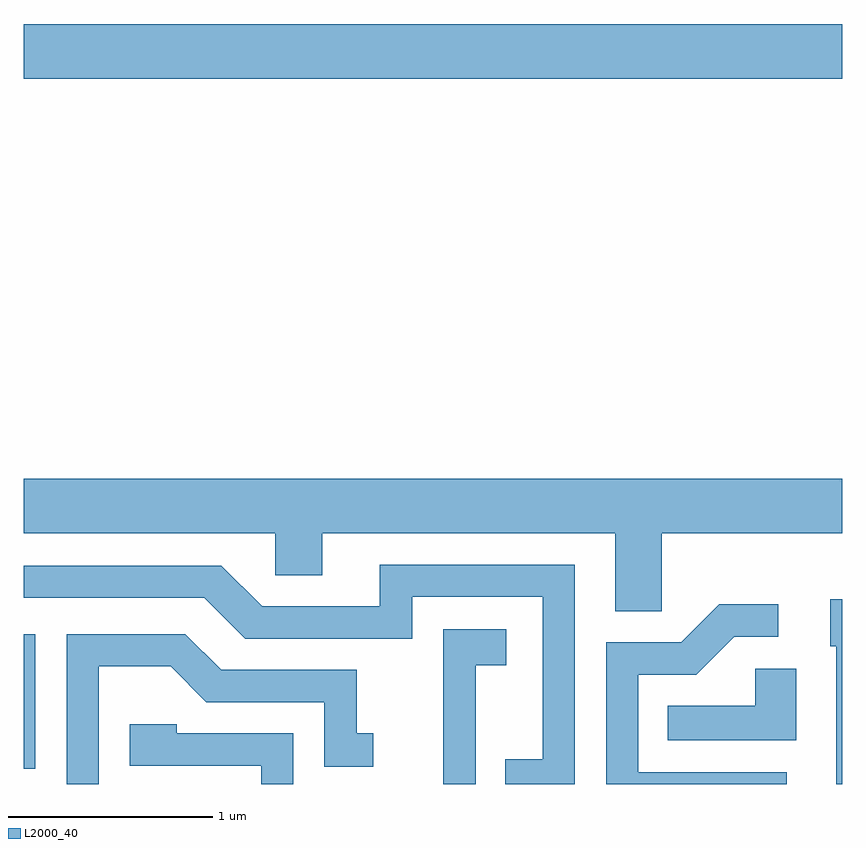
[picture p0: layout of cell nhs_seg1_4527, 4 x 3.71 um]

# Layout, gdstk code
import gdstk
lib = gdstk.Library(unit=1e-6, precision=1e-09)
def R(c, l, rs):  # rectangles x0, y0, x1, y1
    for r in rs: c.add(gdstk.rectangle(r[:2], r[2:], *l))
def P(c, l, *ps):  # polygons
    for p in ps: c.add(gdstk.Polygon(p, *l))
L2000_40 = (2000, 40)

nhs_seg1_4527 = lib.new_cell('nhs_seg1_4527')
R(nhs_seg1_4527, L2000_40, [(321.611,871.786,321.669,872.444), (321.611,875.156,325.611,875.424)])
P(nhs_seg1_4527, L2000_40, [(324.729,872.936),(325.611,872.936),(325.611,873.204),(321.611,873.204),(321.611,872.936),(322.841,872.936),(322.841,872.731),(323.069,872.731),(323.069,872.936),(324.501,872.936),(324.501,872.556),(324.729,872.556)],
  [(324.304,872.784),(323.351,872.784),(323.351,872.579),(322.777,872.579),(322.577,872.779),(321.611,872.779),(321.611,872.621),(322.494,872.621),(322.694,872.421),(323.509,872.421),(323.509,872.626),(324.146,872.626),(324.146,871.834),(323.963,871.834),(323.963,871.712),(324.304,871.712)],
  [(325.611,872.614),(325.551,872.614),(325.551,872.386),(325.581,872.386),(325.581,871.712),(325.611,871.712)],
  [(325.338,871.769),(324.614,871.769),(324.614,872.246),(324.897,872.246),(325.082,872.431),(325.298,872.431),(325.298,872.589),(325.009,872.589),(324.824,872.404),(324.456,872.404),(324.456,871.712),(325.338,871.712)],
  [(323.819,872.291),(323.969,872.291),(323.969,872.469),(323.661,872.469),(323.661,871.712),(323.819,871.712)],
  [(321.979,872.286),(322.329,872.286),(322.504,872.111),(323.081,872.111),(323.081,871.796),(323.318,871.796),(323.318,871.959),(323.239,871.959),(323.239,872.269),(322.577,872.269),(322.402,872.444),(321.821,872.444),(321.821,871.712),(321.979,871.712)],
  [(325.384,872.274),(325.186,872.274),(325.186,872.094),(324.758,872.094),(324.758,871.926),(325.384,871.926)],
  [(322.929,871.959),(322.359,871.959),(322.359,872.004),(322.131,872.004),(322.131,871.801),(322.771,871.801),(322.771,871.712),(322.929,871.712)])

lib.write_gds('nhs_seg1_4527.gds')
